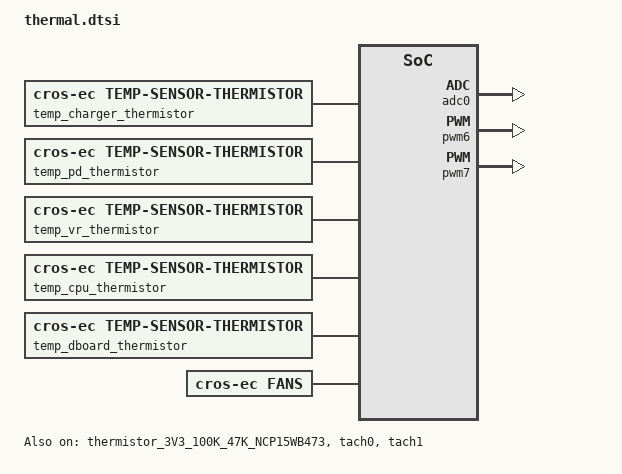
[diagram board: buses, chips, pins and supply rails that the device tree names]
/* Copyright 2026 The ChromiumOS Authors
 * Use of this source code is governed by a BSD-style license that can be
 * found in the LICENSE file.
 */

#include <cros/thermistor/thermistor.dtsi>

/ {
	named-adc-channels {
		compatible = "named-adc-channels";

		adc_charger_amon_bmon: charger_amon_bmon {
			enum-name = "ADC_AMON_BMON";
			io-channels = <&adc0 1>;
		};
		adc_temp_charger: temp_charger {
			enum-name = "ADC_TEMP_SENSOR_2_AMBIENT";
			io-channels = <&adc0 2>;
		};
		adc_temp_pd: temp_pd {
			enum-name = "ADC_TEMP_SENSOR_4";
			io-channels = <&adc0 5>;
		};
		adc_temp_vr: temp_vr {
			enum-name = "ADC_TEMP_SENSOR_PP3300_REGULATOR";
			io-channels = <&adc0 4>;
		};
		adc_temp_cpu: temp_cpu {
			enum-name = "ADC_TEMP_SENSOR_1_DDR_SOC";
			io-channels = <&adc0 3>;
		};
		adc_temp_dboard: temp_dboard {
			enum-name = "ADC_TEMP_SENSOR_5";
			io-channels = <&adc0 6>;
		};
	};

	temp_charger_thermistor: ddr-soc-thermistor {
		compatible = "cros-ec,temp-sensor-thermistor";
		thermistor = <&thermistor_3V3_100K_47K_NCP15WB473>;
		adc = <&adc_temp_charger>;
	};
	temp_pd_thermistor: pd-thermistor {
		compatible = "cros-ec,temp-sensor-thermistor";
		thermistor = <&thermistor_3V3_100K_47K_NCP15WB473>;
		adc = <&adc_temp_pd>;
	};
	temp_vr_thermistor: vr-thermistor {
		compatible = "cros-ec,temp-sensor-thermistor";
		thermistor = <&thermistor_3V3_100K_47K_NCP15WB473>;
		adc = <&adc_temp_vr>;
	};
	temp_cpu_thermistor: cpu-thermistor {
		compatible = "cros-ec,temp-sensor-thermistor";
		thermistor = <&thermistor_3V3_100K_47K_NCP15WB473>;
		adc = <&adc_temp_cpu>;
	};
	temp_dboard_thermistor: dboard-thermistor {
		compatible = "cros-ec,temp-sensor-thermistor";
		thermistor = <&thermistor_3V3_100K_47K_NCP15WB473>;
		adc = <&adc_temp_dboard>;
	};

	fans {
		compatible = "cros-ec,fans";

		fan0: fan_0 {
			pwms = <&pwm6 PWM_CHANNEL_6 PWM_KHZ(25) PWM_POLARITY_NORMAL>;
			rpm-min = <2500>;
			rpm-start = <2500>;
			rpm-max = <6000>;
			tach = <&tach0>;
			rpm-deviation = <1>;
			pgood-gpio = <&gpio_all_sys_pwrgd_r>;
		};

		fan1: fan_1 {
			pwms = <&pwm6 PWM_CHANNEL_7 PWM_KHZ(25) PWM_POLARITY_NORMAL>;
			rpm-min = <2500>;
			rpm-start = <2500>;
			rpm-max = <6000>;
			tach = <&tach1>;
			rpm-deviation = <1>;
			pgood-gpio = <&gpio_all_sys_pwrgd_r>;
		};
	};
};

&adc0 {
	status = "okay";
	pinctrl-0 = <&adc0_ch1_gpi1_default
		&adc0_ch2_gpi2_default
		&adc0_ch3_gpi3_default
		&adc0_ch4_gpi4_default
		&adc0_ch5_gpi5_default
		&adc0_ch6_gpi6_default>;
	pinctrl-names = "default";
};

&thermistor_3V3_100K_47K_NCP15WB473 {
	status = "okay";
};

&pwm6 {
	status = "okay";
	prescaler-cx = <PWM_PRESCALER_C6>;
	pinctrl-0 = <&pwm6_gpa6_default>;
	pinctrl-names = "default";
};

&pwm7 {
	status = "okay";
	prescaler-cx = <PWM_PRESCALER_C6>;
	pinctrl-0 = <&pwm7_gpa7_default>;
	pinctrl-names = "default";
};

&tach0 {
	status = "okay";
	pinctrl-0 = <&tach0a_gpd6_default>;
	pinctrl-names = "default";
	channel = <IT8XXX2_TACH_CHANNEL_A>;
	pulses-per-round = <2>;
};

&tach1 {
	status = "okay";
	pinctrl-0 = <&tach1a_gpd7_default>;
	pinctrl-names = "default";
	channel = <IT8XXX2_TACH_CHANNEL_A>;
	pulses-per-round = <2>;
};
